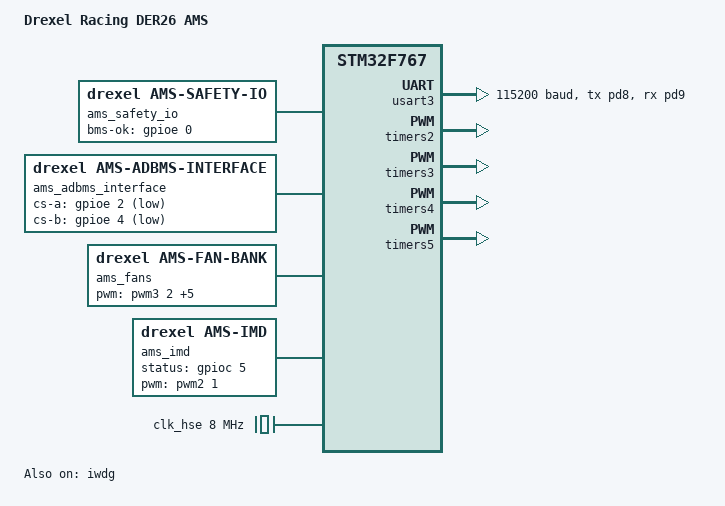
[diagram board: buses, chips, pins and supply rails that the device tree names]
/dts-v1/;

#include <st/f7/stm32f767Xi.dtsi>
#include <st/f7/stm32f767zitx-pinctrl.dtsi>
#include <zephyr/dt-bindings/gpio/gpio.h>
#include <zephyr/dt-bindings/adc/adc.h>
#include <zephyr/dt-bindings/pwm/pwm.h>
#include <zephyr/dt-bindings/reset/stm32f2_4_7_reset.h>

/ {
    model = "Drexel Racing DER26 AMS";
    compatible = "st,stm32f767";

    aliases {
        /* Standard Zephyr watchdog device; no custom AMS watchdog binding. */
        ams-watchdog = &iwdg;
    };

    chosen {
        zephyr,console = &usart3;
        zephyr,shell-uart = &usart3;
        zephyr,sram = &sram0;
        zephyr,flash = &flash0;
        zephyr,dtcm = &dtcm;
    };

    /*
     * Typed AMS board interfaces.
     *
     * Application-facing hardware contracts live in custom Devicetree nodes
     * rather than the untyped /zephyr,user escape hatch.  The bindings under
     * dts/bindings/ams make missing/malformed properties a configuration-time
     * error before C compilation begins.
     */
    ams_safety_io: ams-safety-io {
        compatible = "drexel,ams-safety-io";
        bms-ok-gpios = <&gpioe 0 GPIO_ACTIVE_HIGH>;
        status = "okay";
    };

    /*
     * Z-015 private ADBMS transport ownership.
     *
     * The SoC SPI6 device itself remains disabled so spi_stm32 never owns the
     * peripheral. This typed AMS node carries the wiring, pinctrl and reset
     * metadata consumed by the private bounded-polling backend.
     */
    ams_adbms_interface: ams-adbms-interface {
        compatible = "drexel,ams-adbms-interface";
        spi-controller = <&spi6>;
        pinctrl-0 = <&spi6_sck_pg13
                     &spi6_miso_pg12
                     &spi6_mosi_pg14>;
        pinctrl-names = "default";
        cs-a-gpios = <&gpioe 2 GPIO_ACTIVE_LOW>;
        cs-b-gpios = <&gpioe 4 GPIO_ACTIVE_LOW>;
        resets = <&rctl STM32_RESET(APB2, 21)>;
        reset-names = "spi6";
        spi-input-clock-hz = <108000000>;
        spi-prescaler = <256>;
        spi-frequency-hz = <421875>;
        spi-timeout-ms = <500>;
        max-transfer-bytes = <512>;
        read-dummy-byte = <255>;
        status = "okay";
    };

    /*
     * Z-011/Z-015-hardened private current ADC interface. ADC1/ADC2 are kept
     * disabled as Zephyr devices so adc_stm32 never owns their shared IRQ or
     * async adc_context. The typed AMS node owns both analog pinctrl states,
     * the common ADC reset, and the exact v2.6.27 conversion contract.
     */
    ams_current_sense: ams-current-sense {
        compatible = "drexel,ams-current-sense";
        high-controller = <&adc1>;
        low-controller = <&adc2>;
        pinctrl-0 = <&adc1_in3_pa3 &adc2_in10_pc0>;
        pinctrl-names = "default";
        resets = <&rctl STM32_RESET(APB2, 8)>;
        reset-names = "adc-common";
        high-channel = <3>;
        low-channel = <10>;
        adc-input-clock-hz = <108000000>;
        adc-prescaler = <6>;
        adc-clock-hz = <18000000>;
        resolution-bits = <12>;
        acquisition-ticks = <480>;
        conversion-timeout-ms = <5>;
        status = "okay";
    };

    /*
     * Z-012 fan consumer mapping. PWM_HZ(32133) is Devicetree metadata for
     * the consumer; fan_pwm_zephyr.c uses exact cycle-domain period=3361 to
     * preserve ARR=3360 at the validated 108 MHz timer clock.
     */
    ams_fans: ams-fan-bank {
        compatible = "drexel,ams-fan-bank";
        pwms = <&pwm3 2 PWM_HZ(32133) PWM_POLARITY_NORMAL>,
               <&pwm3 4 PWM_HZ(32133) PWM_POLARITY_NORMAL>,
               <&pwm4 3 PWM_HZ(32133) PWM_POLARITY_NORMAL>,
               <&pwm4 4 PWM_HZ(32133) PWM_POLARITY_NORMAL>,
               <&pwm5 1 PWM_HZ(32133) PWM_POLARITY_NORMAL>,
               <&pwm5 2 PWM_HZ(32133) PWM_POLARITY_NORMAL>;
        pwm-names = "fan1", "fan2", "fan3", "fan4", "fan5", "fan6";
        status = "okay";
    };

    /*
     * Z-013 IMD interface. The pwms period cell describes the NORMAL-state
     * 10 Hz encoding only; capture mode measures period/pulse in hardware and
     * does not configure the input from this consumer period value.
     */
    ams_imd: ams-imd {
        compatible = "drexel,ams-imd";
        pwms = <&pwm2 1 PWM_HZ(10) PWM_POLARITY_NORMAL>;
        status-gpios = <&gpioc 5 GPIO_ACTIVE_HIGH>;
        status = "okay";
    };
};


/*
 * DER26 uses an actual 8 MHz HSE crystal.
 * Do NOT set hse-bypass.
 */
&clk_hse {
    clock-frequency = <DT_FREQ_M(8)>;
    status = "okay";
};


/*
 * STM32F767 clock tree:
 *
 * 8 MHz / 4 = 2 MHz
 * 2 MHz * 216 = 432 MHz VCO
 * 432 MHz / 2 = 216 MHz SYSCLK
 */
&pll {
    div-m = <4>;
    mul-n = <216>;
    div-p = <2>;
    div-q = <2>;
    clocks = <&clk_hse>;
    status = "okay";
};


&rcc {
    clocks = <&pll>;
    clock-frequency = <DT_FREQ_M(216)>;

    ahb-prescaler = <1>;
    apb1-prescaler = <4>;
    apb2-prescaler = <2>;
};


/*
 * Diagnostic UART.
 *
 * This is the only application peripheral enabled during Z-002.
 */
&usart3 {
    pinctrl-0 = <&usart3_tx_pd8 &usart3_rx_pd9>;
    pinctrl-names = "default";
    current-speed = <115200>;
    status = "okay";
};


/*
 * CAN1 / bxCAN hardware contract.
 *
 * Disabled until the later CAN migration phase.
 */
&can1 {
    pinctrl-0 = <&can1_rx_pd0 &can1_tx_pd1>;
    pinctrl-names = "default";
    status = "disabled";
};


/*
 * ADBMS SPI6 hardware contract.
 *
 * CS_A = PE2 and CS_B = PE4 are intentionally handled separately.
 *
 * String-B CS is PE4. Do not remap it.
 */
&spi6 {
    /*
     * Intentionally disabled at Z-015. No Zephyr spi_stm32 device instance,
     * IRQ handler, async context, DMA path or automatic NSS owns SPI6.
     * Register/clock/IRQ metadata is referenced by ams_adbms_interface.
     */
    status = "disabled";
};


/*
 * Z-011/Z-015-hardened current-sense ADC hardware metadata.
 *
 * ADC1/ADC2 stay disabled so Zephyr adc_stm32 does not instantiate its
 * interrupt-driven adc_context. The private AMS adapter references these SoC
 * nodes only for base address, APB2 clock and shared IRQ metadata. Pinmux and
 * reset ownership live on ams_current_sense above. ADC3 must remain disabled
 * because STM32F767 has one common ADC reset bit for ADC1/2/3.
 */
&adc1 {
    status = "disabled";
};

&adc2 {
    status = "disabled";
};

/*
 * Z-013 IMD PWM-input capture.
 *
 * v2.6.27 TIM2 uses no prescaling, 32-bit up-counting, CH1 direct rising
 * capture for the period, CH2 indirect falling capture for high time, and
 * hardware slave RESET mode on TI1FP1. Zephyr STM32 two-channel PWM capture
 * configures that same topology when channel 1 capture is requested and
 * four-channel-capture-support is left disabled.
 */
&timers2 {
    /* v2.6.27 CubeMX sets TIM2_IRQn preemption priority to 5. Keep the
     * capture interrupt at the same NVIC priority rather than inheriting the
     * STM32 SoC DTS default. */
    interrupts = <28 5>;
    st,prescaler = <0>;
    status = "okay";

    pwm2: pwm {
        pinctrl-0 = <&tim2_ch1_pa5>;
        pinctrl-names = "default";
        status = "okay";
    };
};

/*
 * Z-012 cooling fan PWM hardware contract.
 *
 * v2.6.27 uses APB1 timer clock 108 MHz, prescaler 0, up-counting PWM1 and
 * ARR=3360. Zephyr pwm_stm32 programs ARR=period_cycles-1 for up-counters, so
 * the adapter requests 3361 cycles and preserves the original timer period.
 */
&timers3 {
    st,prescaler = <0>;
    status = "okay";

    pwm3: pwm {
        pinctrl-0 = <&tim3_ch2_pa7 &tim3_ch4_pb1>;
        pinctrl-names = "default";
        status = "okay";
    };
};

&timers4 {
    st,prescaler = <0>;
    status = "okay";

    pwm4: pwm {
        pinctrl-0 = <&tim4_ch3_pd14 &tim4_ch4_pd15>;
        pinctrl-names = "default";
        status = "okay";
    };
};

&timers5 {
    st,prescaler = <0>;
    status = "okay";

    pwm5: pwm {
        pinctrl-0 = <&tim5_ch1_pa0 &tim5_ch2_pa1>;
        pinctrl-names = "default";
        status = "okay";
    };
};


/* Z-014 standard STM32 independent watchdog mechanism. Merely enabling the
 * device does not start IWDG in Zephyr 4.4; the AMS platform adapter installs
 * its timeout during prepare and crosses the irreversible wdt_setup() boundary
 * only in the explicit validation configuration. */
&iwdg {
    status = "okay";
};
